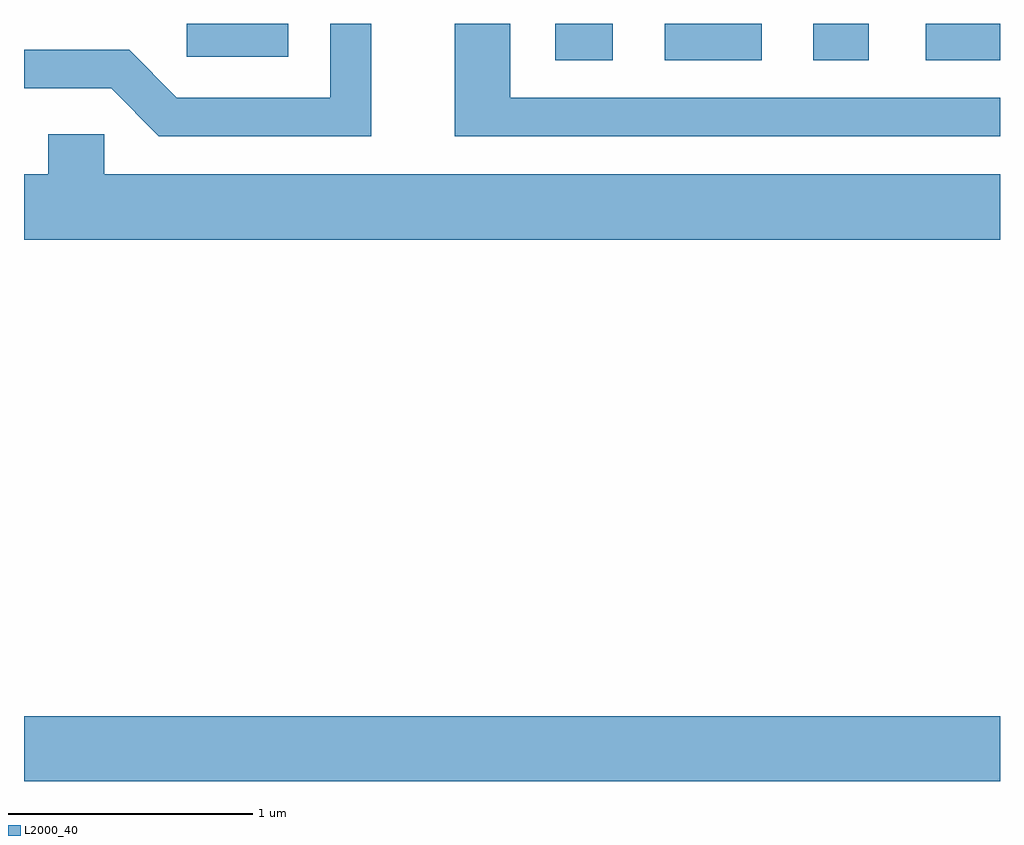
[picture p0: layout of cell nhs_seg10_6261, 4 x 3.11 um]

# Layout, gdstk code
import gdstk
lib = gdstk.Library(unit=1e-6, precision=1e-09)
def R(c, l, rs):  # rectangles x0, y0, x1, y1
    for r in rs: c.add(gdstk.rectangle(r[:2], r[2:], *l))
def P(c, l, *ps):  # polygons
    for p in ps: c.add(gdstk.Polygon(p, *l))
L2000_40 = (2000, 40)

nhs_seg10_6261 = lib.new_cell('nhs_seg10_6261')
R(nhs_seg10_6261, L2000_40, [(369.611,2169.416,373.611,2169.684), (371.788,2172.371,372.024,2172.522), (372.238,2172.371,372.634,2172.522), (372.846,2172.371,373.074,2172.522), (373.306,2172.371,373.611,2172.522), (370.278,2172.386,370.694,2172.522)])
P(nhs_seg10_6261, L2000_40, [(373.611,2172.219),(371.604,2172.219),(371.604,2172.522),(371.376,2172.522),(371.376,2172.061),(373.611,2172.061)],
  [(371.034,2172.522),(370.866,2172.522),(370.866,2172.219),(370.237,2172.219),(370.042,2172.414),(369.611,2172.414),(369.611,2172.256),(369.969,2172.256),(370.164,2172.061),(371.034,2172.061)],
  [(373.611,2171.904),(369.939,2171.904),(369.939,2172.069),(369.711,2172.069),(369.711,2171.904),(369.611,2171.904),(369.611,2171.636),(373.611,2171.636)])

lib.write_gds('nhs_seg10_6261.gds')
